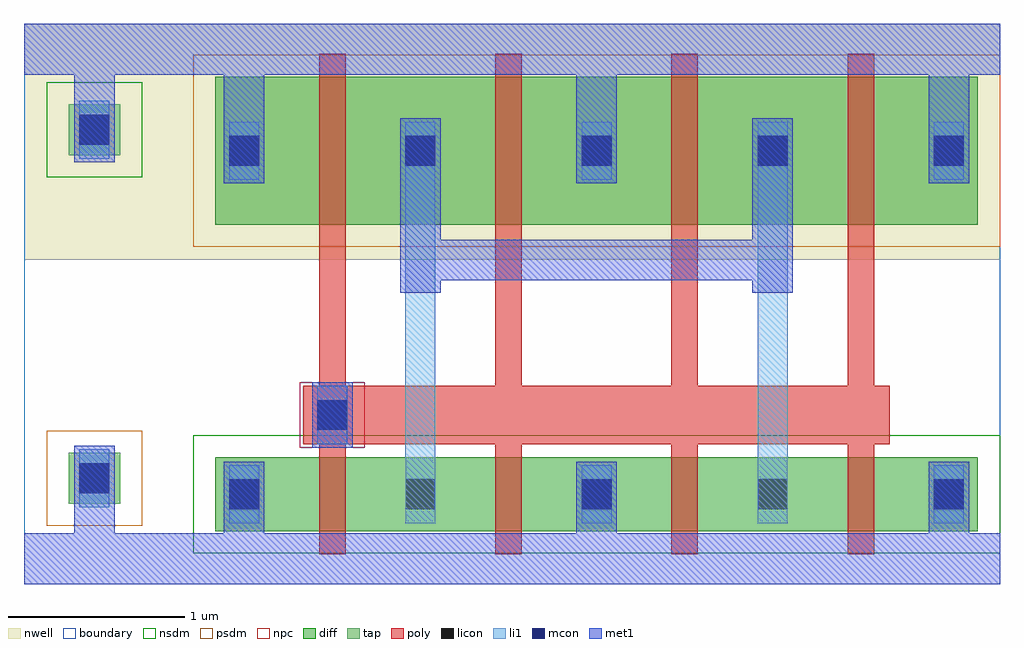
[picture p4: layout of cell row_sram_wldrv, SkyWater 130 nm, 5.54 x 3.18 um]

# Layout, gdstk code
import gdstk
lib = gdstk.Library(unit=1e-6, precision=1e-09)
def R(c, l, rs):  # rectangles x0, y0, x1, y1
    for r in rs: c.add(gdstk.rectangle(r[:2], r[2:], *l))
def A(c, l, x, y, w, h, nx, ny, dx, dy):  # array of equal rectangles
    R(c, l, [(x+i*dx, y+j*dy, x+i*dx+w, y+j*dy+h) for i in range(nx) for j in range(ny)])
nwell = (64, 20)
diff = (65, 20)
tap = (65, 44)
poly = (66, 20)
licon = (66, 44)
li1 = (67, 20)
mcon = (67, 44)
met1 = (68, 20)
nsdm = (93, 44)
psdm = (94, 20)
npc = (95, 20)
boundary = (235, 4)

row_sram_wldrv = lib.new_cell('row_sram_wldrv')
R(row_sram_wldrv, nwell, [(0,1.84,5.54,3.18)])
R(row_sram_wldrv, diff, [(1.085,0.3,5.415,0.72), (1.085,2.04,5.415,2.88)])
R(row_sram_wldrv, tap, [(0.255,0.455,0.545,0.745), (0.255,2.435,0.545,2.725)])
A(row_sram_wldrv, poly, 1.675, 0.17, 0.15, 2.84, 4, 1, 1, 0)
A(row_sram_wldrv, poly, 1.585, 0.795, 0.33, 0.33, 4, 1, 1, 0)
R(row_sram_wldrv, poly, [(1.585,0.795,4.915,1.125)])
A(row_sram_wldrv, licon, 1.165, 0.425, 0.17, 0.17, 5, 2, 1, 1.95)
R(row_sram_wldrv, licon, [(0.315,0.515,0.485,0.685), (1.665,0.875,1.835,1.045), (0.315,2.495,0.485,2.665)])
A(row_sram_wldrv, li1, 1.165, 0.345, 0.17, 0.33, 5, 2, 1, 1.95)
R(row_sram_wldrv, li1, [(0.315,0.435,0.485,0.765), (2.165,0.51,2.335,2.46), (4.165,0.51,4.335,2.46), (1.665,0.795,1.835,1.125), (0.315,2.415,0.485,2.745)])
A(row_sram_wldrv, mcon, 1.165, 0.425, 0.17, 0.17, 3, 1, 2, 0)
A(row_sram_wldrv, mcon, 1.165, 2.375, 0.17, 0.17, 5, 1, 1, 0)
R(row_sram_wldrv, mcon, [(0.315,0.515,0.485,0.685), (1.665,0.875,1.835,1.045), (0.315,2.495,0.485,2.665)])
A(row_sram_wldrv, met1, 1.135, 0.145, 0.23, 0.55, 3, 1, 2, 0)
A(row_sram_wldrv, met1, 1.135, 2.275, 0.23, 0.76, 3, 1, 2, 0)
R(row_sram_wldrv, met1, [(0,0,5.54,0.29), (0.285,0.145,0.515,0.6), (0.285,0.415,0.515,0.785), (1.635,0.775,1.865,1.145), (2.135,1.655,2.365,2.645), (4.135,1.655,4.365,2.645), (2.135,1.725,4.365,1.955), (0.285,2.395,0.515,2.765), (0.285,2.58,0.515,3.035), (0,2.89,5.54,3.18)])
R(row_sram_wldrv, nsdm, [(0.96,0.175,5.54,0.845), (0.13,2.31,0.67,2.85)])
R(row_sram_wldrv, psdm, [(0.13,0.33,0.67,0.87), (0.96,1.915,5.54,3.005)])
R(row_sram_wldrv, npc, [(1.565,0.775,1.935,1.145)])
R(row_sram_wldrv, boundary, [(0,0,5.54,3.18)])

lib.write_gds('row_sram_wldrv.gds')
